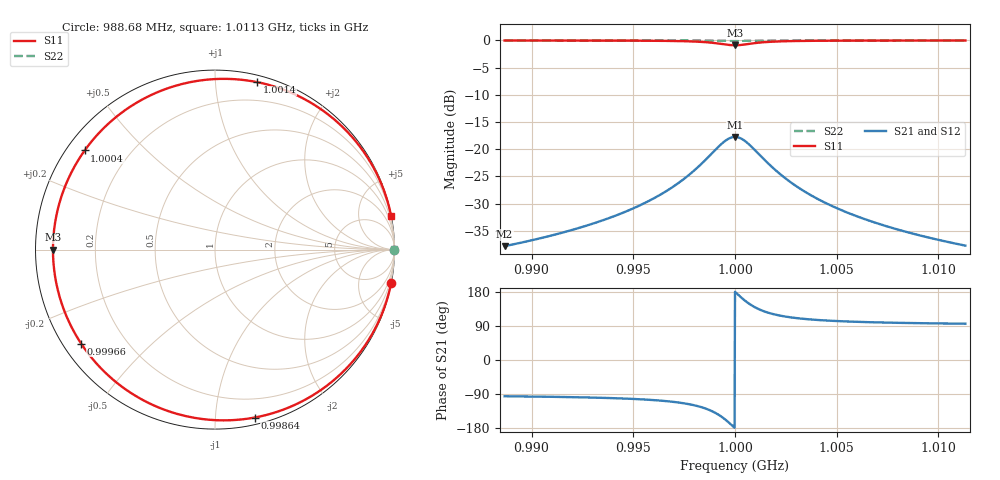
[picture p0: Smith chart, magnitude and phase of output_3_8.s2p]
! File generated for n1 = 3, n2 = 8
! b1 = 21.544347
! b2 = 0.100000
! Q0 = 10000.000000
! f0 = 1000000000.000000
! n = 1001
! rel_span = 10.000000
# Hz S RI R 50
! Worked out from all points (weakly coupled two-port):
!   1001 points, 988.68 MHz to 1.0113 GHz, reference 50 ohm
!   highest |S21| = -17.75 dB at 1 GHz (marker M1); lowest = -37.8 dB at 988.68 MHz (marker M2)
!   lowest |S11| = -0.9 dB at 1 GHz (marker M3), VSWR 19.59, Z = 2.55 + j0 ohm
!   |S11| at or under -10 dB: nowhere
!   |S22| runs from -0.1 to 0.0 dB; largest |S21 - S12| = 0
!   S11 on the Smith chart (normalised r, x): 988.68 MHz: 0, -11; 998.64 MHz: 0.05, -1.26; 999.66 MHz: 0.05, -0.32; 1.0004 GHz: 0.05, +0.34; 1.0014 GHz: 0.05, +1.28; 1.0113 GHz: 0, +10
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9.886778e8  0.9814 -0.1873  -0.00127 -0.0128  -0.00127 -0.0128  0.9999 -0.00087
9.924594e8  0.9584 -0.2784  -0.00284 -0.019  -0.00284 -0.019  0.9998 -0.00129
9.946106e8  0.92 -0.3819  -0.00545 -0.026  -0.00545 -0.026  0.9996 -0.00177
9.96241e8  0.8423 -0.5246  -0.0107 -0.0357  -0.0107 -0.0357  0.9993 -0.00244
9.976903e8  0.632 -0.7515  -0.0251 -0.0512  -0.0251 -0.0512  0.9983 -0.00349
9.982111e8  0.4565 -0.8596  -0.037 -0.0586  -0.037 -0.0586  0.9975 -0.00399
9.986413e8  0.2208 -0.9357  -0.0531 -0.0637  -0.0531 -0.0637  0.9964 -0.00434
9.992074e8  -0.2767 -0.8941  -0.087 -0.0609  -0.087 -0.0609  0.9941 -0.00415
9.994339e8  -0.5221 -0.7613  -0.1037 -0.0519  -0.1037 -0.0519  0.9929 -0.00353
9.996603e8  -0.7457 -0.5238  -0.1189 -0.0357  -0.1189 -0.0357  0.9919 -0.00243
1e9  -0.9028 0  -0.1296 0  -0.1296 0  0.9912 0
1.000181e9  -0.8554 0.2968  -0.1264 0.0202  -0.1264 0.0202  0.9914 0.00138
1.000362e9  -0.7262 0.5523  -0.1176 0.0376  -0.1176 0.0376  0.992 0.00256
1.000566e9  -0.5224 0.761  -0.1037 0.0518  -0.1037 0.0518  0.9929 0.00353
1.000793e9  -0.2774 0.8938  -0.087 0.0609  -0.087 0.0609  0.9941 0.00415
1.001042e9  -0.0311 0.9481  -0.0702 0.0646  -0.0702 0.0646  0.9952 0.0044
1.001381e9  0.2347 0.933  -0.0521 0.0636  -0.0521 0.0636  0.9964 0.00433
1.001812e9  0.4648 0.8556  -0.0365 0.0583  -0.0365 0.0583  0.9975 0.00397
1.002332e9  0.6364 0.7481  -0.0248 0.051  -0.0248 0.051  0.9983 0.00347
1.003782e9  0.8429 0.5237  -0.0107 0.0357  -0.0107 0.0357  0.9993 0.00243
1.007563e9  0.958 0.2796  -0.00286 0.0191  -0.00286 0.0191  0.9998 0.0013
1.011322e9  0.9809 0.1894  -0.0013 0.0129  -0.0013 0.0129  0.9999 0.000879
